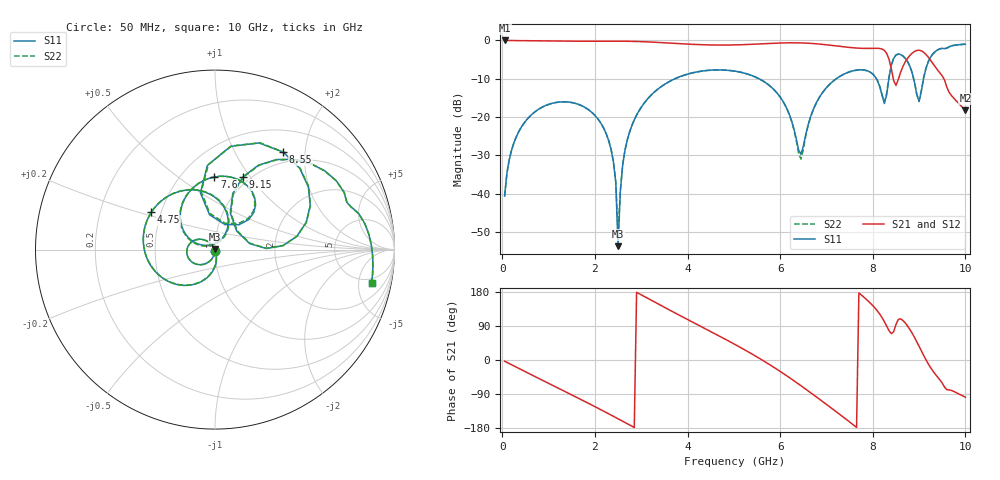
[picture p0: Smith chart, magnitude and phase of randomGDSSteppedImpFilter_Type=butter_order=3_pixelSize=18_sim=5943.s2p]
! freq	dB(S11)	phase(S11)	dB(S12)	phase(S12)
!  dB(S21)	phase(S21)	dB(S22)	phase(S22)
!S-par simulation data
#  GHz  S  DB  R 50
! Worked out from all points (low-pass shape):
!   200 points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, 50 MHz to 10 GHz, reference 50 ohm
!   highest |S21| = -0.01 dB at 50 MHz (marker M1); lowest = -18.2 dB at 10 GHz (marker M2)
!   |S21| within 3 dB of the highest: start of sweep to 8.276 GHz; 8.886 GHz to 9.088 GHz (201.5 MHz wide, 2.24 % of centre)
!   lowest |S11| = -53.7 dB at 2.5 GHz (marker M3), VSWR 1.00, Z = 49.8 + j0.119 ohm
!   |S11| at or under -10 dB: start of sweep to 3.729 GHz; 5.543 GHz to 7.212 GHz (1.668 GHz wide, 26.2 % of centre); 8.077 GHz to 8.347 GHz (269.8 MHz wide, 3.29 % of centre) (the widest 3 of 4)
!   |S22| runs from -50.3 to -1.0 dB; largest |S21 - S12| = 0
!   S11 on the Smith chart (normalised r, x): 50 MHz: 1.00, -0.02; 4.75 GHz: 0.44, +0.22; 7.6 GHz: 0.71, +0.69; 8.55 GHz: 0.83, +1.60; 9.15 GHz: 0.92, +0.93; 10 GHz: 4.04, -7.33
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0.05  -40.64 -92.7  -0.01 -3.2  -0.01 -3.2  -40.63 -92.7
0.55  -20.39 -124.5  -0.09 -34.1  -0.09 -34.1  -20.39 -124.5
1.75  -17.26 162.0  -0.21 -107.5  -0.21 -107.5  -17.26 162.3
2.35  -28.51 125.4  -0.18 -145.3  -0.18 -145.3  -28.49 127.4
2.45  -37.01 121.7  -0.18 -151.8  -0.18 -151.8  -36.89 127.4
2.5  -53.70 144.6  -0.19 -155.1  -0.19 -155.1  -50.26 168.3
2.55  -39.24 -75.0  -0.19 -158.3  -0.19 -158.3  -39.05 -83.0
2.7  -25.93 -80.1  -0.22 -168.2  -0.22 -168.2  -25.93 -82.0
3.4  -12.33 -125.0  -0.54 145.6  -0.54 145.6  -12.33 -125.6
4.75  -7.72 149.6  -1.21 59.1  -1.21 59.1  -7.72 149.1
5.05  -8.08 130.3  -1.16 39.4  -1.16 39.4  -8.08 129.7
6  -14.78 66.4  -0.68 -30.1  -0.68 -30.1  -14.80 65.0
6.45  -29.71 115.3  -0.65 -67.9  -0.65 -67.9  -30.98 116.0
6.7  -18.47 160.7  -0.80 -90.0  -0.80 -90.0  -18.57 162.8
7.6  -7.86 90.5  -1.95 -173.1  -1.95 -173.1  -7.87 91.1
8.25  -16.47 67.9  -2.60 101.3  -2.60 101.3  -16.08 69.0
8.35  -9.73 104.4  -4.87 77.6  -4.87 77.6  -9.58 103.5
8.55  -3.57 55.0  -10.26 106.9  -10.26 106.9  -3.55 54.7
8.9  -10.87 1.2  -2.89 60.0  -2.89 60.0  -10.83 1.5
9  -15.96 40.8  -2.56 36.3  -2.56 36.3  -15.81 40.6
9.15  -7.23 69.0  -3.68 0.3  -3.68 0.3  -7.21 68.5
10  -0.99 -12.0  -18.24 -98.2  -18.24 -98.2  -0.99 -12.1
